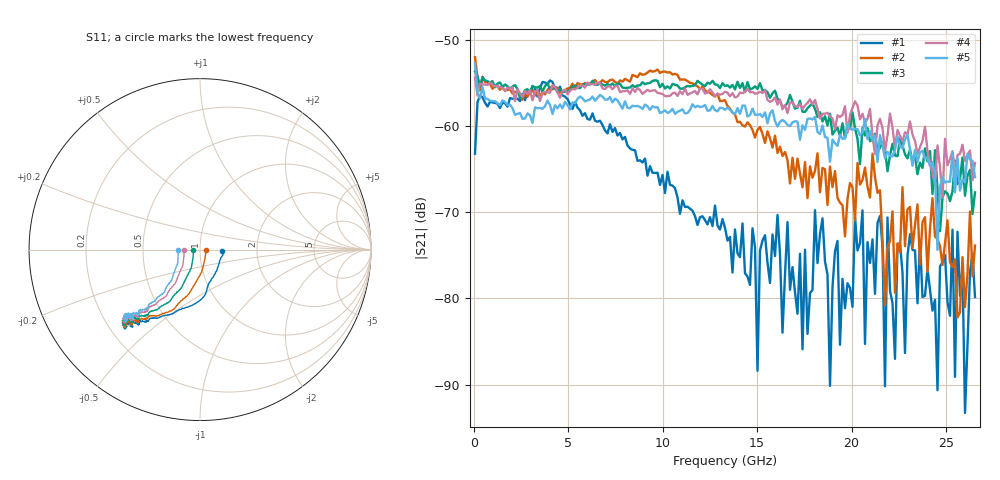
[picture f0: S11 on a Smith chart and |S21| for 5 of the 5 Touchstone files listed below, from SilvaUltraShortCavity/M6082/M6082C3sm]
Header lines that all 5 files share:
!  2-Port S-parameters saved by WinCal
! VAR MeasName=S-Parameters (CALIBRATED_DATA) read from VNA (C)
! VAR PHYS_PORTS=2,1
! VAR ObjTypeName=DATASET
! VAR IndexType=Frequency
# Hz S DB R 50
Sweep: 45 MHz to 26.55 GHz
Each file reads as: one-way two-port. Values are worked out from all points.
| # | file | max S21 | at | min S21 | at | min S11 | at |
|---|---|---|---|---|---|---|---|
| 1 | M6082_19_17_2_2_20C_1.8mA_-17.5dBm.S2P | -54.72 dB | 4.02 GHz | -93.3 dB | 26.02 GHz | -17.8 dB | 45 MHz |
| 2 | M6082_19_17_2_2_20C_3.4mA_-17.5dBm.S2P | -52.04 dB | 45 MHz | -82.2 dB | 25.62 GHz | -29.7 dB | 45 MHz |
| 3 | M6082_19_17_2_2_20C_6.2mA_-17.5dBm.S2P | -53.68 dB | 45 MHz | -72.2 dB | 24.69 GHz | -28.3 dB | 45 MHz |
| 4 | M6082_19_17_2_2_20C_10mA_-17.5dBm.S2P | -54.39 dB | 45 MHz | -68.3 dB | 24.82 GHz | -20.5 dB | 177.5 MHz |
| 5 | M6082_19_17_2_2_20C_15mA_-17.5dBm.S2P | -52.73 dB | 45 MHz | -74.4 dB | 24.56 GHz | -17.8 dB | 442.5 MHz |
